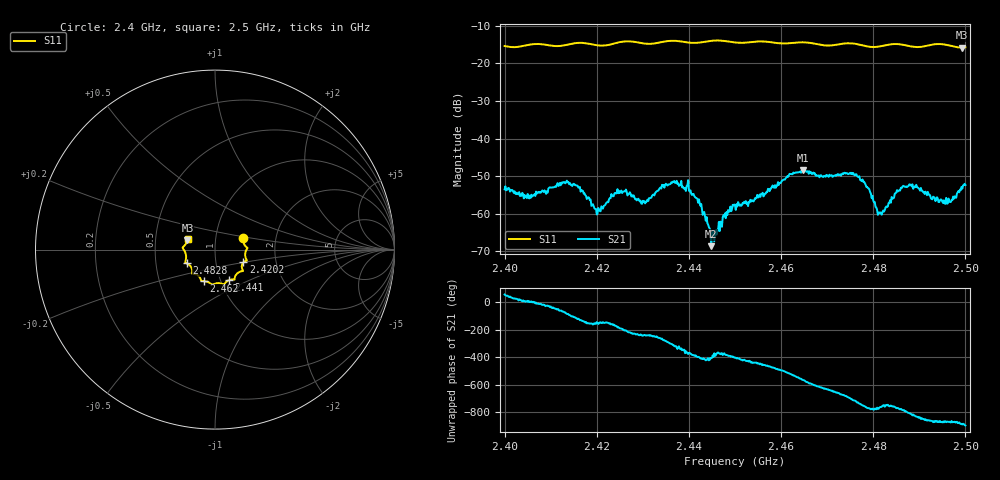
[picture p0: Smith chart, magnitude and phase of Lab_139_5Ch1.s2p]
# Hz S RI R 50
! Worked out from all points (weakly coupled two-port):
!   601 points, 2.4 GHz to 2.5 GHz, reference 50 ohm
!   highest |S21| = -48.45 dB at 2.4648 GHz (marker M1); lowest = -68.6 dB at 2.4448 GHz (marker M2)
!   lowest |S11| = -15.8 dB at 2.4993 GHz (marker M3), VSWR 1.39, Z = 36.5 + j3.85 ohm
!   |S11| at or under -10 dB: start of sweep to end of sweep
!   S12 and S22 are empty: the file has one direction only
!   S11 on the Smith chart (normalised r, x): 2.4 GHz: 1.36, +0.18; 2.4202 GHz: 1.36, -0.20; 2.441 GHz: 1.10, -0.39; 2.462 GHz: 0.84, -0.30; 2.4828 GHz: 0.72, -0.11; 2.5 GHz: 0.73, +0.09
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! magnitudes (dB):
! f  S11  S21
! 2.4 GHz  -15.4  -53.5
! 2.4133 GHz  -15.1  -51.7
! 2.4167 GHz  -14.5  -53.7
! 2.4202 GHz  -15.2  -59.9
! 2.4243 GHz  -14.5  -54.5
! 2.4302 GHz  -14.7  -56.8
! 2.4333 GHz  -14.5  -53.9
! 2.4368 GHz  -14.0  -51.3
! 2.441 GHz  -14.6  -54.7
! 2.4448 GHz  -14.0  -68.6
! 2.45 GHz  -14.4  -57.7
! 2.462 GHz  -14.6  -49.4
! 2.4648 GHz  -14.4  -48.5
! 2.4667 GHz  -14.6  -49.4
! 2.4758 GHz  -14.7  -49.6
! 2.4813 GHz  -15.5  -59.7
! 2.4828 GHz  -15.1  -58.0
! 2.4833 GHz  -15.0  -57.2
! 2.488 GHz  -15.4  -52.3
! 2.4957 GHz  -15.0  -57.4
! 2.4993 GHz  -15.8  -53.3
! 2.5 GHz  -15.7  -52.3
